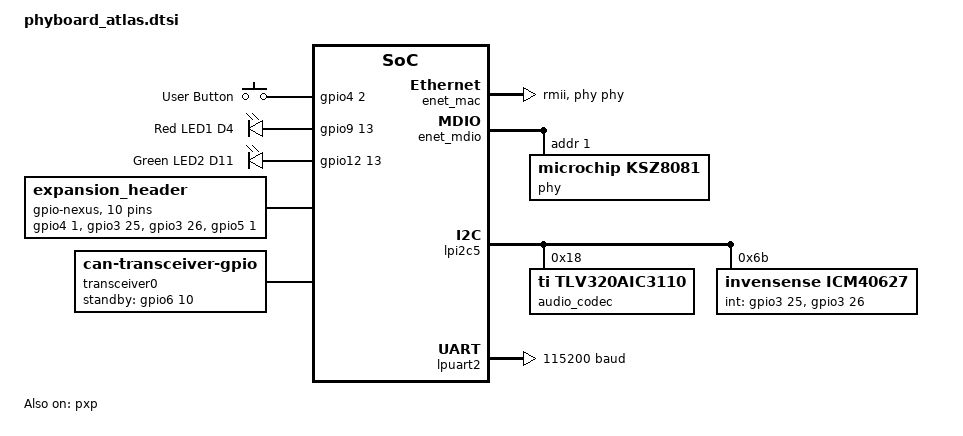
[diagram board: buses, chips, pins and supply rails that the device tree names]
/*
 * Copyright (c) 2025 PHYTEC America LLC
 * SPDX-License-Identifier: Apache-2.0
 */

#include "phyboard_atlas-pinctrl.dtsi"
#include <zephyr/dt-bindings/input/input-event-codes.h>

/ {
	aliases {
		accel0 = &icm40627;
		eeprom0 = &eeprom0;
		i2s-codec-tx = &sai1;
		led0 = &som_green_led;
		led1 = &som_red_led;
		led3 = &board_red_led;
		led4 = &board_green_led;
		sdhc0 = &usdhc1;
		sdram0 = &sdram0;
		sw0 = &user_button;
		watchdog0 = &wdog1;
	};

	gpio_keys {
		compatible = "gpio-keys";

		user_button: button-1 {
			label = "User Button";
			gpios = <&gpio4 2 GPIO_ACTIVE_HIGH>;
			zephyr,code = <INPUT_KEY_0>;
		};
	};

	leds {
		compatible = "gpio-leds";

		board_red_led: led-3 {
			label = "Red LED1 D4";
			gpios = <&gpio9 13 GPIO_ACTIVE_HIGH>;
		};

		board_green_led: led-4 {
			label = "Green LED2 D11";
			gpios = <&gpio12 13 GPIO_ACTIVE_HIGH>;
		};
	};

	expansion_header: connector {
		compatible = "gpio-nexus";
		#gpio-cells = <2>;
		gpio-map-mask = <0xffffffff 0xffffffc0>;
		gpio-map-pass-thru = <0 0x3f>;
		gpio-map = <11 0 &gpio4 1 0>,  /* Pin 11, GPIO_AD_34 */
			   <27 0 &gpio3 25 0>, /* Pin 27, EXP_AD_26 */
			   <29 0 &gpio3 26 0>, /* Pin 29, EXP_AD_27 */
			   <31 0 &gpio5 1 0>,  /* Pin 31, GPIO_DISP_B2_00 */
			   <33 0 &gpio13 3 0>, /* Pin 33, GPIO_SNVS_00 */
			   <35 0 &gpio13 4 0>, /* Pin 35, GPIO_SNVS_01 */
			   <36 0 &gpio13 5 0>, /* Pin 36, GPIO_SNVS_02 */
			   <37 0 &gpio13 6 0>, /* Pin 37, GPIO_SNVS_03 */
			   <38 0 &gpio13 7 1>, /* Pin 38, GPIO_SNVS_04 */
			   <40 0 &gpio13 8 1>; /* Pin 40, GPIO_SNVS_05 */
	};

	transceiver0: can-phy0 {
		compatible = "can-transceiver-gpio";
		standby-gpios = <&gpio6 10 GPIO_ACTIVE_HIGH>;
		#phy-cells = <0>;
		max-bitrate = <5000000>;
	};
};

&enet_mac {
	status = "okay";
	pinctrl-0 = <&pinmux_enet>;
	pinctrl-names = "default";
	phy-handle = <&phy>;
	phy-connection-type = "rmii";
	zephyr,random-mac-address;
};

&enet_mdio {
	status = "okay";
	pinctrl-0 = <&pinmux_enet_mdio>;
	pinctrl-names = "default";

	phy: phy@1 {
		compatible = "microchip,ksz8081";
		reg = <1>;
		status = "okay";
		microchip,interface-type = "rmii";
	};
};

&enet_ptp_clock {
	status = "okay";
};

&csi {
	pinctrl-0 = <&pinmux_csi>;
	pinctrl-names = "default";
};

&flexcan3 {
	pinctrl-0 = <&pinmux_flexcan3>;
	pinctrl-names = "default";
};

&lcdif {
	pinctrl-0 = <&pinmux_lcdif>;
	pinctrl-names = "default";
};

&lpi2c1 {
	pinctrl-0 = <&pinmux_lpi2c1>;
	pinctrl-names = "default";
};

&lpi2c2 {
	pinctrl-0 = <&pinmux_lpi2c2>;
	pinctrl-names = "default";
};

&lpi2c5 {
	pinctrl-0 = <&pinmux_lpi2c5>;
	pinctrl-names = "default";
	status = "okay";

	audio_codec: tlv320aic3110@18 {
		compatible = "ti,tlv320aic3110";
		reg = <0x18>;
		status = "okay";
		clocks = <&ccm IMX_CCM_SAI1_CLK 0x2004 4>;
		clock-names = "mclk";
	};

	icm40627: icm40627@6b {
		compatible = "invensense,icm40627";
		reg = <0x6b>;
		status = "okay";
		accel-hz = <1000>;
		accel-fs = <16>;
		gyro-hz = <1000>;
		gyro-fs = <2000>;
		int-gpios = <&gpio3 25 GPIO_ACTIVE_HIGH>,
			    <&gpio3 26 GPIO_ACTIVE_HIGH>;
	};
};

&lpspi1 {
	pinctrl-0 = <&pinmux_lpspi1>;
	pinctrl-names = "default";
};

&lpspi5 {
	pinctrl-0 = <&pinmux_lpspi5>;
	pinctrl-names = "default";
};

&lpuart1 {
	pinctrl-0 = <&pinmux_lpuart1>;
	pinctrl-1 = <&pinmux_lpuart1_sleep>;
	pinctrl-names = "default", "sleep";
};

&lpuart2 {
	pinctrl-0 = <&pinmux_lpuart2>;
	pinctrl-1 = <&pinmux_lpuart2_sleep>;
	pinctrl-names = "default", "sleep";
	current-speed = <115200>;
	status = "okay";
};

&lpuart5 {
	pinctrl-0 = <&pinmux_lpuart5>;
	pinctrl-1 = <&pinmux_lpuart5_sleep>;
	pinctrl-names = "default", "sleep";
};

&lpuart6 {
	pinctrl-0 = <&pinmux_lpuart6>;
	pinctrl-1 = <&pinmux_lpuart6_sleep>;
	pinctrl-names = "default", "sleep";
};

&lpuart8 {
	pinctrl-0 = <&pinmux_lpuart8_flowcontrol>;
	pinctrl-1 = <&pinmux_lpuart8_sleep>;
	pinctrl-names = "default", "sleep";
	hw-flow-control;
};

&pxp {
	status = "okay";
};

&sai1 {
	pinctrl-0 = <&pinmux_sai1>;
	pinctrl-names = "default";
	clock-mux = <1>;
	pre-div = <0>;
	podf = <2>;
	nxp,tx-dma-channel = <8>;
	nxp,rx-dma-channel = <9>;
};

&usdhc1 {
	pinctrl-0 = <&pinmux_usdhc1>;
	pinctrl-1 = <&pinmux_usdhc1_dat3_nopull>;
	pinctrl-names = "default", "nopull";
};
